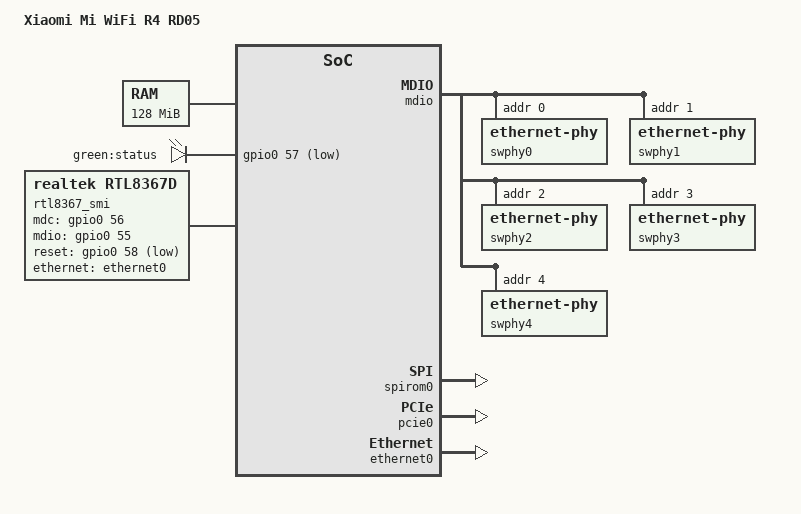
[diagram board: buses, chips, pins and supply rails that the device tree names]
// SPDX-License-Identifier: GPL-2.0-or-later OR MIT

#include <dt-bindings/gpio/gpio.h>
#include <dt-bindings/input/input.h>

#include "rtl8197f.dtsi"

/ {
	compatible = "xiaomi,r4-rd05", "realtek,rtl8197f-vg", "realtek,rtl8197f-soc";
	model = "Xiaomi Mi WiFi R4 RD05";

	aliases {
		serial0 = &uart0;
	};

	chosen {
		bootargs = "console=ttyS0,115200n8 lpj=5000000 rootfstype=squashfs,jffs2 clk_ignore_unused";
		stdout-path = "serial0:115200n8";
	};

	memory@0 {
		device_type = "memory";
		reg = <0x00000000 0x08000000>;
	};

	/*
	 * GPIOs are deliberately conservative for first boot.  The RD05 SPI
	 * backup carries model=RD05 plus ethaddr/ethaddr_wan in the NVRAM/Bdata
	 * areas.  SDK/U-Boot references for this RTL8197F_VG + RTL8367R family
	 * point at H0/G7 for SMI candidates and G6/H1 for button/LED functions.
	 */
	leds {
		compatible = "gpio-leds";
		status = "okay";

		led_sys: system {
			label = "green:status";
			gpios = <&gpio0 57 GPIO_ACTIVE_LOW>; /* H1, BSP reference */
			default-state = "off";
		};
	};

	keys {
		compatible = "gpio-keys";
		status = "disabled";

		reset {
			label = "reset";
			gpios = <&gpio0 54 GPIO_ACTIVE_LOW>; /* G6, BSP V672 reference */
			linux,code = <KEY_RESTART>;
		};
	};

	/*
	 * OEM RD05 logs expose rtl819x_8367r_i2c_pin.1/.2 plus GPIOs 55/56/58
	 * and report switchChip=8367D.  The RTL8197F_VG BSP path for 83xx/8367
	 * selects MDC=H0, MDIO=G7 and reset=H2 for 8197FH/VG boards, matching
	 * those exported GPIO numbers with this driver's A0..H7 numbering.
	 *
	 * Xiaomi's userspace models the two LAN ports as eth0/eth1 and WAN as eth2;
	 * keep that logical layout by labelling RTL8367 ports 0/1 as LAN and port 2
	 * as WAN.  Ports 3/4 are present in the switch core but disabled here until
	 * hardware probing proves whether they are routed on RD05.
	 *
	 * The DSA node uses the upstream RTL8365MB-family compatible. Silicon is
	 * identified by chip number/version, and GPIO58/H2 is the active-low reset.
	 */
	rtl8367_smi: switch {
		compatible = "realtek,rtl8367d", "realtek,rtl8365mb";
		pinctrl-names = "default";
		pinctrl-0 = <&rtl8367_smi_h0_g7_pins>;
		mdc-gpios = <&gpio0 56 GPIO_ACTIVE_HIGH>;  /* H0 */
		mdio-gpios = <&gpio0 55 GPIO_ACTIVE_HIGH>; /* G7 */
		reset-gpios = <&gpio0 58 GPIO_ACTIVE_LOW>; /* H2 */
		realtek,disable-leds;
		status = "okay";

		ports {
			#address-cells = <1>;
			#size-cells = <0>;

			/*
			 * RD05 port bring-up: PHY1 and PHY2 are proven working as LAN2/WAN.
			 * The first physical LAN jack did not link on PHY0, PHY3 or PHY4 when
			 * only one candidate was exposed at a time.  Keep all remaining copper
			 * candidates published and bridged during bring-up.  The one that shows
			 * carrier with a cable in the first LAN jack can be renamed to lan1 in a
			 * final clean DTS after hardware validation.
			 */
			port@0 {
				reg = <0>;
				label = "lan1";
				phy-handle = <&swphy0>;
			};

			port@1 {
				reg = <1>;
				label = "lan2";
				phy-handle = <&swphy1>;
			};

			port@2 {
				reg = <2>;
				label = "wan";
				phy-handle = <&swphy2>;
			};

			port@3 {
				reg = <3>;
				label = "lan3";
				phy-handle = <&swphy3>;
			};

			port@4 {
				reg = <4>;
				label = "lan4";
				phy-handle = <&swphy4>;
			};

			/* RTL8367D CPU port 7 maps to EXT_PORT1/MAC7.  Its RGMII peer is
			 * RTL8197F physical P0, configured by rtl8197f-rtknet.
			 */
			port@7 {
				reg = <7>;
				label = "cpu";
				ethernet = <&ethernet0>;
				phy-mode = "rgmii";
				/* The RTL8367D DAL enables EXT1 spread-spectrum clocking and then
				 * re-tunes the host RGMII link to TX0/RX5.  The register uses
				 * 0.3 ns RX steps, so vendor value 5 is represented as 1500 ps.
				 */
				tx-internal-delay-ps = <0>;
				rx-internal-delay-ps = <1500>;

				fixed-link {
					speed = <1000>;
					full-duplex;
					pause;
				};
			};
		};

		mdio {
			compatible = "realtek,smi-mdio";
			#address-cells = <1>;
			#size-cells = <0>;

			/*
			 * RD05 recovery logs show real link events on these PHYs, but
			 * some links can flap after autonegotiation.  Keep the initial
			 * PHY description conservative and prevent phylib from enabling
			 * EEE/LPI on the external RTL8367D user ports during bring-up.
			 */
			swphy0: ethernet-phy@0 {
				reg = <0>;
				eee-broken-100tx;
				eee-broken-1000t;
			};

			swphy1: ethernet-phy@1 {
				reg = <1>;
				eee-broken-100tx;
				eee-broken-1000t;
			};

			swphy2: ethernet-phy@2 {
				reg = <2>;
				eee-broken-100tx;
				eee-broken-1000t;
			};

			swphy3: ethernet-phy@3 {
				reg = <3>;
				eee-broken-100tx;
				eee-broken-1000t;
			};

			swphy4: ethernet-phy@4 { reg = <4>; };
		};
	};
};


&pinmux {
	/*
	 * OEM exports gpio55/gpio56 for rtl819x_8367r_i2c_pin.{1,2}.
	 * Vendor PIN_MUX_SEL13 is observed as 0x33320000 after stock init.
	 * This keeps the H0/G7 nibbles in GPIO-capable mode for diagnostics.
	 */
	rtl8367_smi_h0_g7_pins: rtl8367-smi-h0-g7-pins {
		pinctrl-single,bits = <0x34 0x03300000 0x0ff00000>;
	};

};

&gpio0 {
	/* v32: enable GPIO as SDK-derived platform base, but keep GPIO IRQs
	 * disabled until timer/interrupt accounting is proven with real jiffies.
	 */
	/delete-property/ interrupt-controller;
	/delete-property/ #interrupt-cells;
	/delete-property/ interrupt-parent;
	/delete-property/ interrupts;
	status = "okay";
};

/*
 * UART0 is physically the DW-APB block at 0x18147000 and remains serial0.
 * Keep the recovery console in polling mode on RD05: early printk already
 * proves the port/base/baud are correct, while the board-level UART IRQ lane
 * has not yet been validated without console lockups.
 */
&uart0 {
	/delete-property/ interrupt-parent;
	/delete-property/ interrupts;
};

&spi0 {
	/* Disabled for v23: JEDEC/SFDP FIFO probe wedges on RD05 hardware. */
	status = "disabled";
};

&spirom0 {
	/* Command-mode writes are hard-limited by the driver to rootfs_data. */
	realtek,writable-offset = <0x00e60000>;
	realtek,writable-size = <0x001a0000>;
	realtek,spi-clock-div = <8>;
	status = "okay";

	partitions {
		compatible = "fixed-partitions";
		#address-cells = <1>;
		#size-cells = <1>;

		partition@0 {
			label = "boot";
			reg = <0x00000000 0x00020000>;
			read-only;
		};

		partition@20000 {
			compatible = "u-boot,env";
			label = "nvram";
			reg = <0x00020000 0x00010000>;
			read-only;

			/* The RD05 stores a standard CRC32 U-Boot environment here. */
			ethaddr: ethaddr { };
			ethaddr_wan: ethaddr_wan { };
			wl0_macaddr: wl0_macaddr { };
			wl1_macaddr: wl1_macaddr { };
		};

		partition@30000 {
			label = "bdata";
			reg = <0x00030000 0x00010000>;
			read-only;
		};

		partition@40000 {
			label = "factory";
			reg = <0x00040000 0x00010000>;
			read-only;
		};

		partition@50000 {
			label = "crash";
			reg = <0x00050000 0x00010000>;
			read-only;
		};

		kernel: partition@60000 {
			label = "kernel";
			reg = <0x00060000 0x002f0000>;
			read-only;
		};

		rootfs: partition@350000 {
			label = "rootfs";
			/* OEM partition table: rootfs 0x350000-0xe60000. */
			reg = <0x00350000 0x00b10000>;
			read-only;
		};

		partition@e60000 {
			/* OEM calls this partition "overlay"; OpenWrt uses rootfs_data. */
			label = "rootfs_data";
			reg = <0x00e60000 0x001a0000>;
		};
	};
};


&pcie0 {
	/*
	 * OEM Linux enumerates the RD05 PCIe WLAN endpoint as 10ec:f812 and
	 * identifies it as RTL8812FE.  The RTL8197FH-VG BSP uses a 40 MHz PCIe
	 * reference clock plus the VG-specific MDIO register-8 tuning value.
	 */
	realtek,refclk-40mhz;
	realtek,rtl8197f-vg;
	status = "okay";
};

&ethdiag0 {
	/* Standard boot: keep the old bring-up diagnostic driver disabled. */
	status = "disabled";
};

&ethernet0 {
	nvmem-cells = <&ethaddr>;
	nvmem-cell-names = "mac-address";

	/*
	 * GPL SDK topology for RTL8197F + RTL83xx: the SoC drives the external
	 * switch through physical P0/RGMII.  RTL8367D port 7/EXT1 is the switch-side
	 * endpoint only.  Direct DMA TX must therefore select DP bit 0; DP bit 6 with
	 * DP_EXT=2 is an internal CPU/extension path and produced the v30 self-loop.
	 */
	realtek,tx-port-mask = <0x1>;
	realtek,tx-dp-ext = <0x0>;
	realtek,tx-extspa = <0x0>;
	/* SDK-derived safety net: the RTL8197F CPU interface sometimes does
	 * not raise RX IRQs while DSA/switch MIB counters still see ingress
	 * traffic. Poll the RX ring during bring-up so ARP/DHCP can progress
	 * even if CPUIISR/RX_DONE is not wired correctly yet.
	 */
	realtek,rx-poll-fallback;
	realtek,rx-poll-ms = <50>;
	realtek,sdk-cpuicr1-init;
	realtek,sdk-swcore-init;
	realtek,sdk-trxrdy;
	/* Keep the SoC-side VID9/L2/netif/ACL host-link seed active while DSA owns
	 * the external switch.  The seed contains only RTL8197F P0; DSA represents
	 * RTL8367D UTP ports and parses the rtl8_4 CPU tag in Linux.
	 */
	realtek,legacy-rd05-sdk-pipeline;
	/* Accept RTL8367D protocol-4 CPU-tagged frames in the RTL8197F P0 parser,
	 * but preserve the 8-byte tag for Linux's rtl8_4 DSA tagger.
	 */
	realtek,p0-cpu-tag-pass-through;
	/* v23: physical DMA addresses did not move the CPU ring.  Return to the
	 * SDK-compatible KSEG1 descriptor/buffer address form inherited from the SoC
	 * dtsi and test the missing rtl865x_start() side-band sequence instead.
	 */
	/* Realtek SDK clears CPUICR.EXCLUDE_CRC and includes FCS in descriptor lengths. */
	realtek,sdk-crc-lengths;
	status = "okay";
};
